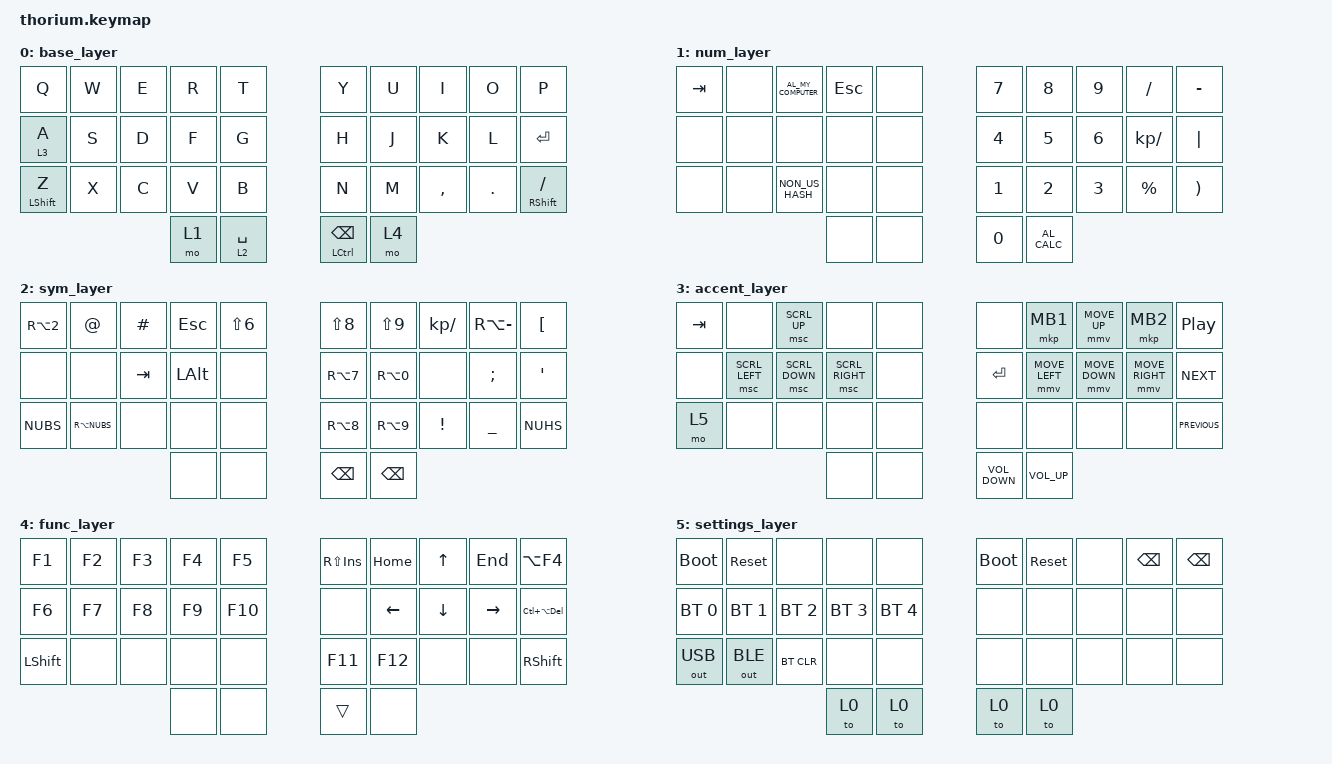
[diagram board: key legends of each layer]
#pragma once

#define ZMK_POINTING_DEFAULT_MOVE_VAL 1600

#include <behaviors.dtsi>
#include <dt-bindings/zmk/bt.h>
#include <dt-bindings/zmk/keys.h>
#include <dt-bindings/zmk/outputs.h>
#include <dt-bindings/zmk/pointing.h>

/* layer */

#define BASE 0
#define NUM 1
#define SYM 2
#define ACCENT 3
#define FUNC 4
#define SETTING 5

/ {
    keymap {
        compatible = "zmk,keymap";

        base_layer {
            bindings = <
&kp Q             &kp W  &kp E  &kp R  &kp T        &kp Y                &kp U  &kp I      &kp O       &kp P
&lt 3 A           &kp S  &kp D  &kp F  &kp G        &kp H                &kp J  &kp K      &kp L       &kp ENTER
&mt LEFT_SHIFT Z  &kp X  &kp C  &kp V  &kp B        &kp N                &kp M  &kp COMMA  &kp PERIOD  &mt RIGHT_SHIFT SLASH
                                &mo 1  &lt 2 SPACE  &mt LCTRL BACKSPACE  &mo 4
            >;
        };

        num_layer {
            bindings = <
&kp TAB  &none  &kp C_AL_MY_COMPUTER  &kp ESC  &none  &kp N7        &kp NUMBER_8   &kp N9        &kp SLASH      &kp MINUS
&none    &none  &none                 &none    &none  &kp NUMBER_4  &kp N5         &kp NUMBER_6  &kp KP_DIVIDE  &kp PIPE
&none    &none  &kp NON_US_HASH       &none    &none  &kp N1        &kp NUMBER_2   &kp NUMBER_3  &kp PERCENT    &kp RIGHT_PARENTHESIS
                                      &none    &none  &kp N0        &kp C_AL_CALC
            >;
        };

        sym_layer {
            bindings = <
&kp RA(NUMBER_2)  &kp AT        &kp HASH  &kp ESC       &kp LS(NUMBER_6)  &kp LS(N8)     &kp LS(N9)     &kp KP_SLASH     &kp RA(MINUS)  &kp LEFT_BRACKET
&none             &none         &kp TAB   &kp LEFT_ALT  &none             &kp RA(N7)     &kp RA(N0)     &none            &kp SEMICOLON  &kp SINGLE_QUOTE
&kp NUBS          &kp RA(NUBS)  &none     &none         &none             &kp RA(N8)     &kp RA(N9)     &kp EXCLAMATION  &kp UNDER      &kp NUHS
                                          &none         &none             &kp BACKSPACE  &kp BACKSPACE
            >;
        };

        accent_layer {
            bindings = <
&kp TAB  &none           &msc SCRL_UP    &none            &none  &none              &mkp MB1        &mmv MOVE_UP    &mkp MB2         &kp C_PLAY_PAUSE
&none    &msc SCRL_LEFT  &msc SCRL_DOWN  &msc SCRL_RIGHT  &none  &kp ENTER          &mmv MOVE_LEFT  &mmv MOVE_DOWN  &mmv MOVE_RIGHT  &kp C_NEXT
&mo 5    &none           &none           &none            &none  &none              &none           &none           &none            &kp C_PREVIOUS
                                         &none            &none  &kp C_VOLUME_DOWN  &kp C_VOL_UP
            >;
        };

        func_layer {
            bindings = <
&kp F1          &kp F2  &kp F3  &kp F4  &kp F5   &kp RS(INSERT)  &kp HOME  &kp UP    &kp END    &kp LA(F4)
&kp F6          &kp F7  &kp F8  &kp F9  &kp F10  &none           &kp LEFT  &kp DOWN  &kp RIGHT  &kp LC(LA(DELETE))
&kp LEFT_SHIFT  &none   &none   &none   &none    &kp F11         &kp F12   &none     &none      &kp RIGHT_SHIFT
                                &none   &none    &trans          &none
            >;
        };

        settings_layer {
            bindings = <
&bootloader   &sys_reset    &none         &none         &none         &bootloader  &sys_reset  &none  &kp BACKSPACE  &kp BACKSPACE
&bt BT_SEL 0  &bt BT_SEL 1  &bt BT_SEL 2  &bt BT_SEL 3  &bt BT_SEL 4  &none        &none       &none  &none          &none
&out OUT_USB  &out OUT_BLE  &bt BT_CLR    &none         &none         &none        &none       &none  &none          &none
                                          &to 0         &to 0         &to 0        &to 0
            >;
        };
    };
};
